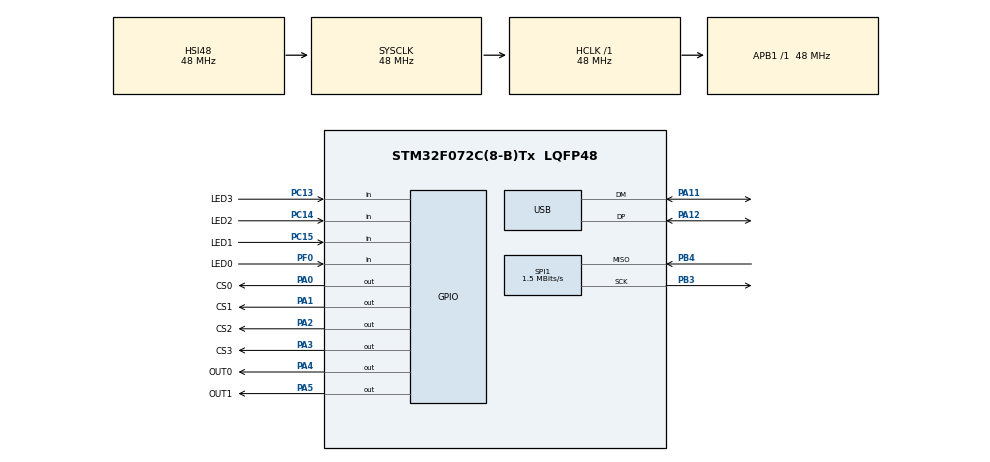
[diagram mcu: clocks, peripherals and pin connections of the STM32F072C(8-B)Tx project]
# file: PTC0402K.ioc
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Dma.Request0=SPI1_RX
Dma.SPI1_RX.0.Direction=DMA_PERIPH_TO_MEMORY
Dma.SPI1_RX.0.Instance=DMA1_Channel2
Dma.SPI1_RX.0.MemDataAlignment=DMA_MDATAALIGN_BYTE
Dma.SPI1_RX.0.MemInc=DMA_MINC_ENABLE
Dma.SPI1_RX.0.Mode=DMA_NORMAL
Dma.SPI1_RX.0.PeriphDataAlignment=DMA_PDATAALIGN_BYTE
Dma.SPI1_RX.0.PeriphInc=DMA_PINC_DISABLE
Dma.SPI1_RX.0.Priority=DMA_PRIORITY_LOW
Mcu.Family=STM32F0
Mcu.Name=STM32F072C(8-B)Tx
Mcu.Package=LQFP48
NVIC.DMA1_Channel2_3_IRQn=true\:0\:0\:false\:false\:true\:false\:true\:true
NVIC.SPI1_IRQn=true\:0\:0\:false\:false\:true\:true\:true\:true
NVIC.TIM14_IRQn=true\:0\:0\:false\:false\:true\:true\:true\:true
NVIC.USB_IRQn=true\:0\:0\:false\:false\:true\:false\:true\:true
PA0.GPIO_Label=CS0
PA0.PinState=GPIO_PIN_SET
PA0.Signal=GPIO_Output
PA1.GPIO_Label=CS1
PA1.PinState=GPIO_PIN_SET
PA1.Signal=GPIO_Output
PA11.Mode=Device
PA11.Signal=USB_DM
PA12.Mode=Device
PA12.Signal=USB_DP
PA13.Mode=Serial_Wire
PA13.Signal=SYS_SWDIO
PA14.Mode=Serial_Wire
PA14.Signal=SYS_SWCLK
PA2.GPIO_Label=CS2
PA2.PinState=GPIO_PIN_SET
PA2.Signal=GPIO_Output
PA3.GPIO_Label=CS3
PA3.PinState=GPIO_PIN_SET
PA3.Signal=GPIO_Output
PA4.GPIO_Label=OUT0
PA4.Signal=GPIO_Output
PA5.GPIO_Label=OUT1
PA5.Signal=GPIO_Output
PB3.Mode=RX_Only_Simplex_Unidirect_Master
PB3.Signal=SPI1_SCK
PB4.Mode=RX_Only_Simplex_Unidirect_Master
PB4.Signal=SPI1_MISO
PC13.GPIO_Label=LED3
PC13.Signal=GPIO_Input
PC14-OSC32_IN.GPIO_Label=LED2
PC14-OSC32_IN.Signal=GPIO_Input
PC15-OSC32_OUT.GPIO_Label=LED1
PC15-OSC32_OUT.Signal=GPIO_Input
PF0-OSC_IN.GPIO_Label=LED0
PF0-OSC_IN.Signal=GPIO_Input
ProjectManager.HeapSize=0x200
ProjectManager.StackSize=0x400
ProjectManager.TargetToolchain=Makefile
RCC.AHBFreq_Value=48000000
RCC.APB1Freq_Value=48000000
RCC.APB1TimFreq_Value=48000000
RCC.HCLKFreq_Value=48000000
RCC.SYSCLKFreq_VALUE=48000000
RCC.SYSCLKSource=RCC_SYSCLKSOURCE_HSI48
SPI1.BaudRatePrescaler=SPI_BAUDRATEPRESCALER_32
SPI1.CalculateBaudRate=1.5 MBits/s
SPI1.DataSize=SPI_DATASIZE_8BIT
SPI1.Direction=SPI_DIRECTION_2LINES_RXONLY
SPI1.Mode=SPI_MODE_MASTER
SPI1.NSSPMode=SPI_NSS_PULSE_DISABLE
SPI1.VirtualType=VM_MASTER
TIM14.AutoReloadPreload=TIM_AUTORELOAD_PRELOAD_ENABLE
TIM14.Period=48000
USB_DEVICE.CLASS_NAME_FS=CDC
USB_DEVICE.MANUFACTURER_STRING=Blueskin Design Ltd
USB_DEVICE.PRODUCT_STRING_CDC_FS=PTC0402K
USB_DEVICE.VirtualMode=Cdc
USB_DEVICE.VirtualModeFS=Cdc_FS
VP_TIM14_VS_ClockSourceINT.Mode=Enable_Timer
VP_USB_DEVICE_VS_USB_DEVICE_CDC_FS.Mode=CDC_FS
board=custom

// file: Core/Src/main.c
/* USER CODE BEGIN Header */
/**
  ******************************************************************************
  * @file           : main.c
  * @brief          : Main program body
  ******************************************************************************
  * @attention
  *
  * Copyright (c) 2023 STMicroelectronics.
  * All rights reserved.
  *
  * This software is licensed under terms that can be found in the LICENSE file
  * in the root directory of this software component.
  * If no LICENSE file comes with this software, it is provided AS-IS.
  *
  ******************************************************************************
  */
/* USER CODE END Header */
#include "main.h"
#include "dma.h"
#include "spi.h"
#include "tim.h"
#include "usb_device.h"
#include "gpio.h"

/* USER CODE BEGIN Includes */
#include "led.h"
#include "usbd_cdc_if.h"
#include "MAX31855.h"
#include "bangbang.h"
#include "scpi/scpi.h"
#include "scpi-def.h"
/* USER CODE END Includes */

/* USER CODE BEGIN PD */
#define SPI_RX_BUFFER_SIZE  4
#define USB_RX_BUFFER_SIZE  0xFF
/* USER CODE END PD */

/* USER CODE BEGIN PV */
uint8_t spiRxBuffer[SPI_RX_BUFFER_SIZE];
uint8_t usbRxBuffer[USB_RX_BUFFER_SIZE];
// extern uint8_t UserRxBufferFS[APP_RX_DATA_SIZE];
// extern uint8_t UserTxBufferFS[APP_RX_DATA_SIZE];
/* USER CODE END PV */

void SystemClock_Config(void);

/* USER CODE BEGIN 0 */
void HAL_SPI_RxCpltCallback(SPI_HandleTypeDef *hspi) {
  MAX31855_CompleteTransfer();
  MAX31855_ProcessData(spiRxBuffer);

  if (MAX31855_NextChannel() != 0) {
    MAX31855_InitiateTransfer();
    HAL_SPI_Receive_DMA(&hspi1, spiRxBuffer, 4);
  }
}
/* USER CODE END 0 */

int main(void)
{

  /* MCU Configuration--------------------------------------------------------*/

  /* Reset of all peripherals, Initializes the Flash interface and the Systick. */
  HAL_Init();

  /* Configure the system clock */
  SystemClock_Config();

  /* Initialize all configured peripherals */
  MX_GPIO_Init();
  MX_DMA_Init();
  MX_SPI1_Init();
  MX_USB_DEVICE_Init();
  MX_TIM14_Init();
  /* USER CODE BEGIN 2 */
  HAL_TIM_Base_Start_IT(&htim14);

  SCPI_Init(&scpi_context,
            scpi_commands,
            &scpi_interface,
            scpi_units_def,
            SCPI_IDN1, SCPI_IDN2, SCPI_IDN3, SCPI_IDN4,
            scpi_input_buffer, SCPI_INPUT_BUFFER_LENGTH,
            scpi_error_queue_data, SCPI_ERROR_QUEUE_SIZE);

  /* USER CODE END 2 */

  /* Infinite loop */
  /* USER CODE BEGIN WHILE */
  while (1)
  {
    //Parse USB input
    uint16_t bytesAvailable = CDC_GetRxBufferBytesAvailable_FS();
    if (bytesAvailable > 0) {
      uint16_t bytesToRead = (bytesAvailable >= USB_RX_BUFFER_SIZE) ? \
                             USB_RX_BUFFER_SIZE : bytesAvailable;
      if (CDC_ReadRxBuffer_FS(usbRxBuffer, bytesToRead) == USB_CDC_RX_BUFFER_OK) {
    	SCPI_Input(&scpi_context, (const char *)usbRxBuffer, bytesToRead);
      }
    }
    /* USER CODE END WHILE */

  }
}

void SystemClock_Config(void)
{
  RCC_OscInitTypeDef RCC_OscInitStruct = {0};
  RCC_ClkInitTypeDef RCC_ClkInitStruct = {0};
  RCC_PeriphCLKInitTypeDef PeriphClkInit = {0};

  /** Initializes the RCC Oscillators according to the specified parameters
  * in the RCC_OscInitTypeDef structure.
  */
  RCC_OscInitStruct.OscillatorType = RCC_OSCILLATORTYPE_HSI48;
  RCC_OscInitStruct.HSI48State = RCC_HSI48_ON;
  RCC_OscInitStruct.PLL.PLLState = RCC_PLL_NONE;
  if (HAL_RCC_OscConfig(&RCC_OscInitStruct) != HAL_OK)
  {
    Error_Handler();
  }

  /** Initializes the CPU, AHB and APB buses clocks
  */
  RCC_ClkInitStruct.ClockType = RCC_CLOCKTYPE_HCLK|RCC_CLOCKTYPE_SYSCLK
                              |RCC_CLOCKTYPE_PCLK1;
  RCC_ClkInitStruct.SYSCLKSource = RCC_SYSCLKSOURCE_HSI48;
  RCC_ClkInitStruct.AHBCLKDivider = RCC_SYSCLK_DIV1;
  RCC_ClkInitStruct.APB1CLKDivider = RCC_HCLK_DIV1;

  if (HAL_RCC_ClockConfig(&RCC_ClkInitStruct, FLASH_LATENCY_1) != HAL_OK)
  {
    Error_Handler();
  }
  PeriphClkInit.PeriphClockSelection = RCC_PERIPHCLK_USB;
  PeriphClkInit.UsbClockSelection = RCC_USBCLKSOURCE_HSI48;

  if (HAL_RCCEx_PeriphCLKConfig(&PeriphClkInit) != HAL_OK)
  {
    Error_Handler();
  }
}

/* USER CODE BEGIN 4 */
void HAL_TIM_PeriodElapsedCallback(TIM_HandleTypeDef *htim)
{
  // Timer14 triggers every 100ms
  if (htim->Instance == htim14.Instance)
  {
    BangBang_Update();
    MAX31855_InitiateTransfer();
    HAL_SPI_Receive_DMA(&hspi1, spiRxBuffer, 4);
  }
}
/* USER CODE END 4 */

void Error_Handler(void)
{
  __disable_irq();
  while (1)
  {
  }
}
